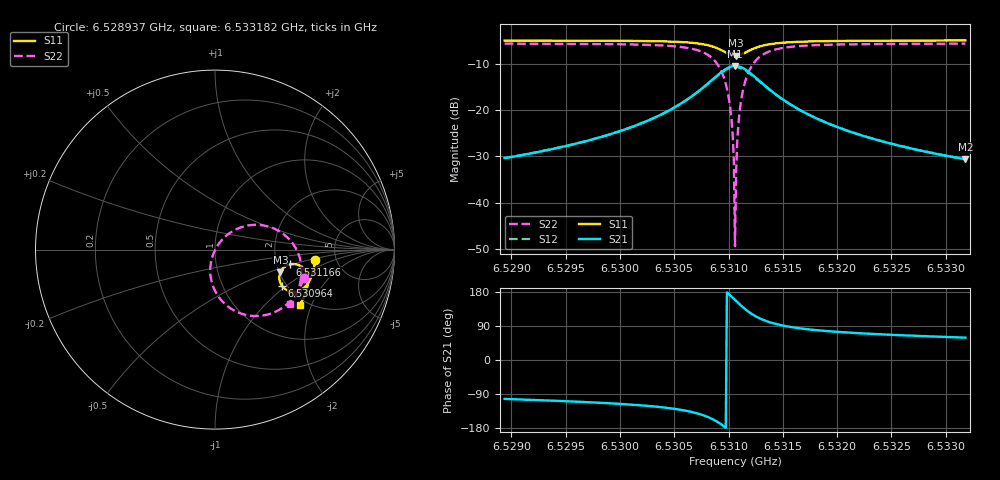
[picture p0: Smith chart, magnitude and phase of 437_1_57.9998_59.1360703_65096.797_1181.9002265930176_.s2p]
#  HZ  S  RI  R  50.00
! Rohde & Schwarz Vector Network Analyzer
! Rohde-Schwarz,ZNB20-2Port,1311601062101988,3.16
! Created: UTC 3/21/2024, 1:09:53 AM
! freq[Hz]  re:S11  im:S11  re:S21  im:S21  re:S12  im:S12  re:S22  im:S22
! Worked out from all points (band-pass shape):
!   401 points, 6.528937 GHz to 6.533182 GHz, reference 50 ohm
!   highest |S21| = -10.49 dB at 6.53106 GHz (marker M1); lowest = -30.6 dB at 6.533182 GHz (marker M2)
!   |S21| within 3 dB of the highest: 6.530849 GHz to 6.531274 GHz (424.8 kHz wide, 0.0065 % of centre)
!   lowest |S11| = -8.3 dB at 6.53107 GHz (marker M3), VSWR 2.26, Z = 101 - j30.3 ohm
!   |S11| at or under -10 dB: nowhere
!   |S22| runs from -49.3 to -5.7 dB; largest |S21 - S12| = 0.011
!   S11 on the Smith chart (normalised r, x): 6.528937 GHz: 3.46, -0.57; 6.530964 GHz: 1.89, -0.93; 6.531166 GHz: 2.35, -0.47; 6.533182 GHz: 1.83, -1.65
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6.5289374e9  0.5582 -0.0561  -0.00671 -0.0297  -0.0073 -0.0295  0.4953 -0.159
6.5296483e9  0.5481 -0.1148  -0.0159 -0.0423  -0.0168 -0.0418  0.4656 -0.2247
6.5303592e9  0.5201 -0.1843  -0.0485 -0.0725  -0.0506 -0.0711  0.3863 -0.3166
6.5307836e9  0.451 -0.2336  -0.1536 -0.098  -0.1559 -0.0919  0.1844 -0.3664
6.5308897e9  0.4074 -0.2289  -0.2213 -0.0727  -0.2207 -0.0637  0.0687 -0.3143
6.530964e9  0.3735 -0.2025  -0.2715 -0.0161  -0.2662 -0.00662  -0.00812 -0.211
6.5309958e9  0.363 -0.1829  -0.2849 0.0215  -0.2774 0.0297  -0.0248 -0.1464
6.5310171e9  0.3593 -0.1677  -0.2885 0.0497  -0.2796 0.0568  -0.0261 -0.0989
6.5310277e9  0.3585 -0.1596  -0.2881 0.0645  -0.2788 0.0708  -0.0234 -0.0745
6.5310383e9  0.3586 -0.1514  -0.2865 0.0795  -0.2765 0.0848  -0.018 -0.0504
6.5310489e9  0.3597 -0.1432  -0.2832 0.0942  -0.273 0.0987  -0.0104 -0.0264
6.5310595e9  0.3617 -0.1351  -0.2786 0.1087  -0.2683 0.1122  -0.000361 -0.00339
6.5310701e9  0.3645 -0.1273  -0.2724 0.1227  -0.262 0.1253  0.0119 0.0187
6.5310807e9  0.3682 -0.1198  -0.2649 0.1358  -0.2546 0.1376  0.0263 0.0393
6.5310913e9  0.3724 -0.1129  -0.2563 0.1483  -0.2463 0.149  0.0424 0.0582
6.5311126e9  0.3831 -0.1006  -0.2361 0.1698  -0.2268 0.1689  0.0789 0.0903
6.5311656e9  0.4152 -0.0828  -0.1774 0.2016  -0.171 0.1987  0.181 0.1339
6.5312399e9  0.4571 -0.083  -0.1037 0.2042  -0.1004 0.2013  0.3053 0.1261
6.531346e9  0.4935 -0.1051  -0.04 0.1744  -0.0385 0.1727  0.4095 0.0614
6.5317704e9  0.5184 -0.1843  0.0151 0.0842  0.016 0.0841  0.4829 -0.1276
6.5324813e9  0.4988 -0.256  0.0173 0.0404  0.0182 0.0401  0.4554 -0.2443
6.5331816e9  0.4715 -0.3078  0.0152 0.0253  0.0157 0.025  0.4205 -0.3057
